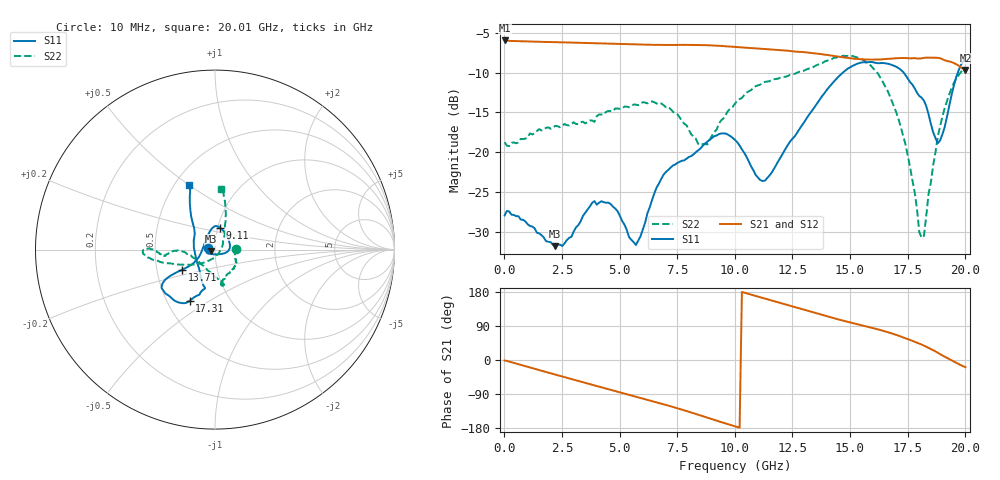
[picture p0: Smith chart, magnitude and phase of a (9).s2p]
! Hittite Microwave Corporation
! 2 Elizabeth Drive
! Chelmsford, MA 01824
! http://www.hittite.com
! Tel: 978-250-3343
! Fax: 978-250-3373
! Device:  HMC424LP3
! Description: 0.5 dB GaAs MMIC 6-Bit Digital Attenuator
! Frequency:  DC -  13.00 GHz
! Package:  LP3  - 3x3 mm Quad Flatpack No-Lead (QFN) Plastic Package: 16 pin
! Ports:  2 RF, 7 DC
!  Pad  1  = Ground
!  Pad  2  = RF IN  = Port 1
!  Pad  3  = Ground
!  Pad  4  = V6
!  Pad  5  = V5
!  Pad  6  = V4
!  Pad  7  = V3
!  Pad  8  = V2
!  Pad  9  = V1
!  Pad 10  = Ground
!  Pad 11  = RF OUT  = Port 2
!  Pad 12  = Ground
!  Pad 15  = VEE
! Control:  -5 Volt control voltage
! State:  7
! Attenuation:  3.5 dB
! Voltages:  Vdd = -5.00 Volts  Idd =  -2.563 mA
!  V1  = -5.00 Volts  I1  =  -1.0 uA
!  V2  = -5.00 Volts  I2  =  -1.0 uA
!  V3  = -5.00 Volts  I3  =  -1.0 uA
!  V4  = 0.00 Volts  I4  =  30.0 uA
!  V5  = 0.00 Volts  I5  =  29.0 uA
!  V6  = 0.00 Volts  I6  =  30.0 uA
! Data:  The device was measured on evaluation board 105354-1.
!  Data was collected using a calibrated network analyzer.
!  The evaluation circuit board was modeled and simulated.  This was use
!  to removed the evaluation board circuit from the measured data.
!  The reference plane is the edge of the package pin.
! Misc:  Lot xxxx, Unit 1
!  Application 20120001, Data collected in Application 20090083
! Date Measured:  2009-09-15
! Date:  2012-05-14  MJV
! Note:
!  Hittite supplies this data as a sample of measured data at the package pin
!  for this product.  Your particular data for this product may vary.
!  Data was taken at 25 degrees C.
!  Hittite reserves the right to change this data at anytime.
# GHz S MA R 50
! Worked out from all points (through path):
!   201 points, 10 MHz to 20.01 GHz, reference 50 ohm
!   highest |S21| = -5.96 dB at 10 MHz (marker M1); lowest = -9.7 dB at 20.01 GHz (marker M2)
!   group delay of S21, straight-line fit = 49.8 ps
!   lowest |S11| = -31.8 dB at 2.21 GHz (marker M3), VSWR 1.05, Z = 47.7 - j0.991 ohm
!   |S11| at or under -10 dB: start of sweep to 14.69 GHz; 17.33 GHz to 19.68 GHz (2.352 GHz wide, 12.7 % of centre)
!   |S22| runs from -30.8 to -7.9 dB; largest |S21 - S12| = 0.00094
!   S11 on the Smith chart (normalised r, x): 10 MHz: 0.92, +0.02; 9.11 GHz: 1.03, +0.26; 13.71 GHz: 0.67, -0.16; 17.31 GHz: 0.65, -0.41; 20.01 GHz: 0.59, +0.50
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0.01  0.04 167.1  0.5035 -1.2  0.504 -1.3  0.1153 2.3
2.21  0.02565 -156.1  0.491 -38.5  0.4907 -38.5  0.1463 -39.3
3.41  0.03972 -169.1  0.4862 -58.7  0.4856 -58.7  0.1554 -58.7
3.91  0.04925 -170.1  0.4834 -67.0  0.4832 -67.0  0.155 -69.8
4.51  0.04817 -155.4  0.4808 -77.0  0.4802 -77.0  0.1815 -76.3
5.71  0.0261 -89.0  0.4749 -96.7  0.4744 -96.7  0.199 -78.5
6.71  0.06358 -14.8  0.4724 -113.4  0.4716 -113.4  0.2046 -76.6
8.51  0.1055 56.8  0.4714 -146.3  0.4706 -146.3  0.1105 -125.5
9.11  0.126 77.1  0.4675 -158.0  0.4669 -158.0  0.1338 -162.2
10.01  0.1194 98.0  0.4586 -175.0  0.4581 -175.0  0.2018 -178.9
11.31  0.06617 167.4  0.4448 162.0  0.4441 162.1  0.2763 -173.5
13.41  0.1872 -147.8  0.4191 125.5  0.4183 125.5  0.3426 -180.0
13.71  0.2164 -148.7  0.4138 120.2  0.4133 120.3  0.3588 179.6
15.51  0.3665 -144.1  0.383 91.6  0.3827 91.6  0.3851 -174.3
16.71  0.3579 -124.6  0.3861 72.2  0.3856 72.2  0.2293 -158.9
17.31  0.3189 -116.3  0.3906 59.6  0.3902 59.6  0.1262 -140.9
17.81  0.2519 -108.7  0.3901 48.0  0.3893 48.0  0.05598 -108.4
18.01  0.2253 -104.5  0.3873 43.1  0.3869 43.1  0.03137 -72.9
18.21  0.2108 -107.6  0.3913 38.1  0.3907 38.1  0.02972 -9.6
18.81  0.1136 -164.0  0.3913 19.2  0.3908 19.2  0.125 62.4
19.31  0.1956 129.7  0.3718 2.7  0.3715 2.6  0.2318 75.4
20.01  0.3904 111.9  0.3287 -18.8  0.3282 -18.7  0.3414 84.7
